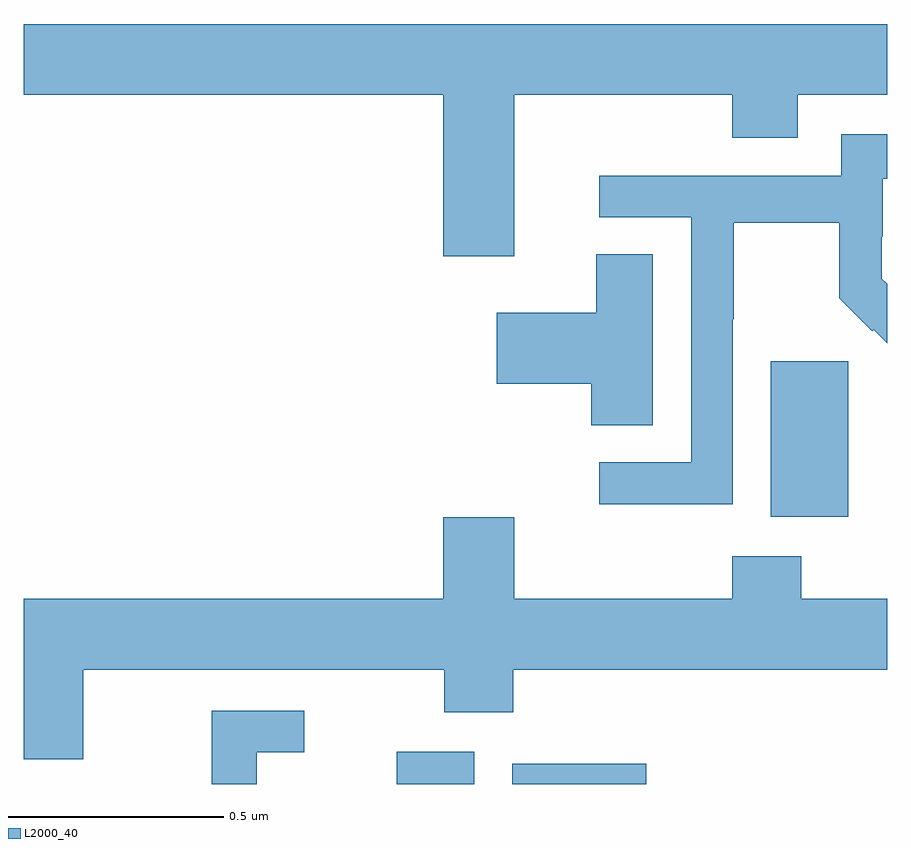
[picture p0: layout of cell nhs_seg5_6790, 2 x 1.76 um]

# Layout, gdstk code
import gdstk
lib = gdstk.Library(unit=1e-6, precision=1e-09)
def R(c, l, rs):  # rectangles x0, y0, x1, y1
    for r in rs: c.add(gdstk.rectangle(r[:2], r[2:], *l))
def P(c, l, *ps):  # polygons
    for p in ps: c.add(gdstk.Polygon(p, *l))
L2000_40 = (2000, 40)

nhs_seg5_6790 = lib.new_cell('nhs_seg5_6790')
R(nhs_seg5_6790, L2000_40, [(200.864,885.799,201.043,885.874), (201.132,885.799,201.442,885.846), (201.731,886.418,201.91,886.779)])
P(nhs_seg5_6790, L2000_40, [(200,887.396),(200.972,887.396),(200.972,887.022),(201.136,887.022),(201.136,887.396),(201.641,887.396),(201.641,887.297),(201.793,887.297),(201.793,887.396),(202,887.396),(202,887.56),(200,887.56)],
  [(201.642,886.876),(201.645,886.876),(201.645,887.1),(201.889,887.1),(201.889,886.925),(201.966,886.848),(201.969,886.851),(202,886.82),(202,886.958),(201.988,886.97),(201.988,887.067),(201.99,887.067),(201.99,887.201),(202,887.201),(202,887.305),(201.894,887.305),(201.894,887.208),(201.333,887.208),(201.333,887.112),(201.546,887.112),(201.546,886.545),(201.333,886.545),(201.333,886.447),(201.642,886.447)],
  [(201.457,887.027),(201.326,887.027),(201.326,886.891),(201.096,886.891),(201.096,886.726),(201.314,886.726),(201.314,886.63),(201.457,886.63)],
  [(200.137,886.064),(200.974,886.064),(200.974,885.965),(201.134,885.965),(201.134,886.064),(202,886.064),(202,886.228),(201.801,886.228),(201.801,886.327),(201.641,886.327),(201.641,886.228),(201.136,886.228),(201.136,886.417),(200.972,886.417),(200.972,886.228),(200,886.228),(200,885.856),(200.137,885.856)],
  [(200.539,885.873),(200.65,885.873),(200.65,885.969),(200.435,885.969),(200.435,885.799),(200.539,885.799)])

lib.write_gds('nhs_seg5_6790.gds')
